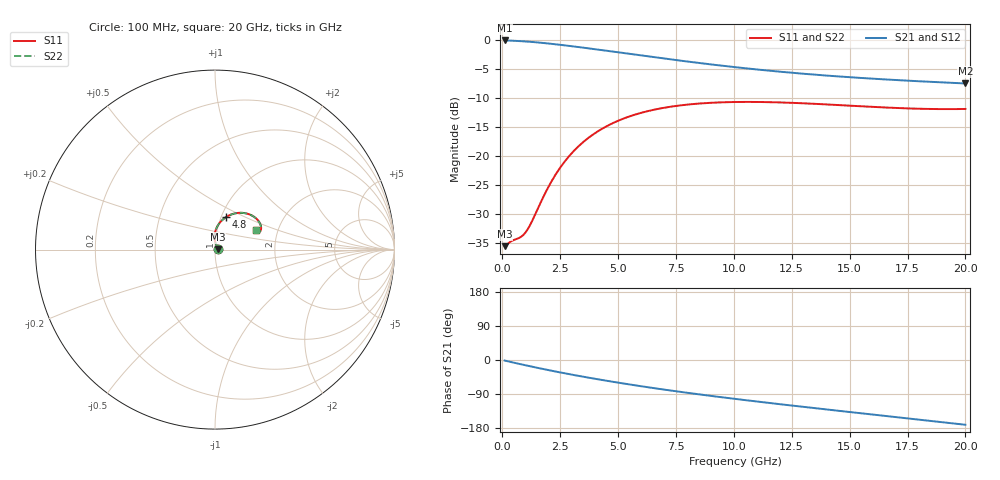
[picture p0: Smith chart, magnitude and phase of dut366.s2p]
! Touchstone file exported from HFSS 2024.1.0
!  File:  C:/UserFiles/LocalFiles/RDL_TSV_Batchsim/temp_RDL_TSV_366_1779641448.aedt
!  Generated:  01:07:01 AM May 25, 2026
!  Design:  RDL_TSV
!  Project:  temp_RDL_TSV_366_1779641448
!  Setup:  Setup1
!  Solution:  Sweep
! Variables:
!  dtsv = 6.7um
!  hbump = 3um
!  htsv = 75.45um
!  ldown = 586.68um
!  lrdl = 154.47um
!  p = 40
!  p1 = 46.04um
!  rhole = 10um
!  subl = 2377.92um
!  t = 450um
!  tdown = 2.1um
!  trdl = 3.8um
!  viad = 10um
!  wdown = 24.77um
!  wrdl = 18.21um
!  xbump = 18um
# GHz S MA R 50.000000
! Terminal data exported
! Port[1] = TM1_1_T1
! Port[2] = TM1_4_T1
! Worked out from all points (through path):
!   200 points, 100 MHz to 20 GHz, reference 50 ohm
!   highest |S21| = -0.15 dB at 100 MHz (marker M1); lowest = -7.6 dB at 20 GHz (marker M2)
!   group delay of S21, straight-line fit = 22.5 ps
!   lowest |S11| = -35.6 dB at 100 MHz (marker M3), VSWR 1.03, Z = 51.7 + j0.225 ohm
!   |S11| at or under -10 dB: start of sweep to end of sweep
!   |S22| runs from -35.6 to -10.8 dB; largest |S21 - S12| = 9.2e-15
!   S11 on the Smith chart (normalised r, x): 100 MHz: 1.03, +0.00; 4.8 GHz: 1.06, +0.40; 20 GHz: 1.54, +0.36
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0.1  0.01656 7.6  0.9833 -1.4  0.9833 -1.4  0.01656 7.6
! Gamma 0 0 0 0
! Port Impedance 50 0 50 0
0.4  0.01833 24.5  0.9792 -5.7  0.9792 -5.7  0.01833 24.5
0.8  0.01987 45.7  0.9701 -11.2  0.9701 -11.2  0.01988 45.7
1  0.02171 58.6  0.9643 -13.9  0.9643 -13.9  0.02171 58.5
1.3  0.02761 75.5  0.9542 -17.9  0.9542 -17.9  0.0276 75.4
1.9  0.04954 90.8  0.9298 -25.5  0.9298 -25.5  0.04952 90.7
2.3  0.06857 92.2  0.9114 -30.4  0.9114 -30.4  0.06852 92.2
2.6  0.08392 91.2  0.897 -34.0  0.897 -34.0  0.08387 91.2
2.9  0.09968 89.3  0.8822 -37.5  0.8822 -37.5  0.09961 89.3
3.5  0.131 84.1  0.8521 -44.2  0.8521 -44.2  0.131 84.1
4.1  0.1607 78.1  0.822 -50.6  0.822 -50.6  0.1606 78.1
4.8  0.1916 71.2  0.7873 -57.8  0.7873 -57.8  0.1915 71.2
5.7  0.2246 62.8  0.7443 -66.5  0.7443 -66.5  0.2244 62.7
6.8  0.2544 53.6  0.6952 -76.5  0.6952 -76.5  0.2542 53.6
8.4  0.28 42.7  0.6324 -89.9  0.6324 -89.9  0.2798 42.7
10.1  0.2899 33.9  0.5773 -103.0  0.5773 -103.0  0.2896 33.9
11.7  0.2884 27.9  0.5356 -114.6  0.5356 -114.6  0.2881 27.9
13.4  0.2801 23.7  0.5004 -126.4  0.5004 -126.4  0.2798 23.7
15  0.2695 21.8  0.4741 -137.3  0.4741 -137.3  0.2692 21.8
16.7  0.259 21.7  0.4517 -148.7  0.4517 -148.7  0.2587 21.7
18.3  0.2527 23.2  0.4344 -159.4  0.4344 -159.4  0.2524 23.2
20  0.2524 25.9  0.4189 -170.9  0.4189 -170.9  0.2521 26.0
